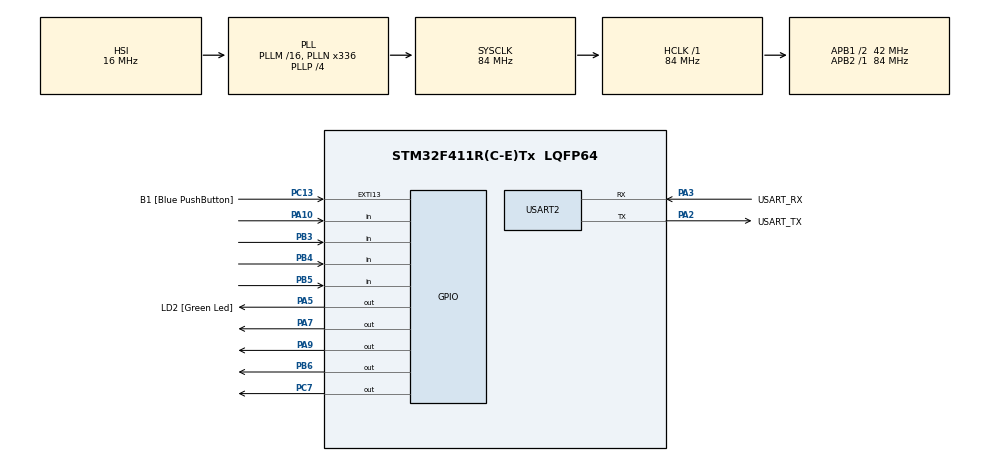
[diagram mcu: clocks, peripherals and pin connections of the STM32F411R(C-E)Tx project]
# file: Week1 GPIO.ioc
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Mcu.Family=STM32F4
Mcu.Name=STM32F411R(C-E)Tx
Mcu.Package=LQFP64
NVIC.PriorityGroup=NVIC_PRIORITYGROUP_0
PA10.Signal=GPIO_Input
PA13.GPIO_Label=TMS
PA13.Mode=Serial_Wire
PA13.Signal=SYS_JTMS-SWDIO
PA14.GPIO_Label=TCK
PA14.Mode=Serial_Wire
PA14.Signal=SYS_JTCK-SWCLK
PA2.GPIO_Label=USART_TX
PA2.Mode=Asynchronous
PA2.Signal=USART2_TX
PA3.GPIO_Label=USART_RX
PA3.Mode=Asynchronous
PA3.Signal=USART2_RX
PA5.GPIO_Label=LD2 [Green Led]
PA5.Signal=GPIO_Output
PA7.Signal=GPIO_Output
PA9.Signal=GPIO_Output
PB3.Signal=GPIO_Input
PB4.Signal=GPIO_Input
PB5.Signal=GPIO_Input
PB6.Signal=GPIO_Output
PC13-ANTI_TAMP.GPIO_Label=B1 [Blue PushButton]
PC13-ANTI_TAMP.GPIO_ModeDefaultEXTI=GPIO_MODE_IT_FALLING
PC13-ANTI_TAMP.Signal=GPXTI13
PC14-OSC32_IN.Mode=LSE-External-Oscillator
PC14-OSC32_IN.Signal=RCC_OSC32_IN
PC15-OSC32_OUT.Mode=LSE-External-Oscillator
PC15-OSC32_OUT.Signal=RCC_OSC32_OUT
PC7.Signal=GPIO_Output
PH0\ -\ OSC_IN.Mode=HSE-External-Clock-Source
PH0\ -\ OSC_IN.Signal=RCC_OSC_IN
PH1\ -\ OSC_OUT.Mode=HSE-External-Clock-Source
PH1\ -\ OSC_OUT.Signal=RCC_OSC_OUT
ProjectManager.HeapSize=0x200
ProjectManager.StackSize=0x400
ProjectManager.TargetToolchain=STM32CubeIDE
RCC.48MHZClocksFreq_Value=84000000
RCC.AHBFreq_Value=84000000
RCC.APB1CLKDivider=RCC_HCLK_DIV2
RCC.APB1Freq_Value=42000000
RCC.APB1TimFreq_Value=84000000
RCC.APB2Freq_Value=84000000
RCC.APB2TimFreq_Value=84000000
RCC.CortexFreq_Value=84000000
RCC.FLatency-AdvancedSettings=FLASH_LATENCY_2
RCC.HCLKFreq_Value=84000000
RCC.HSE_VALUE=8000000
RCC.HSI_VALUE=16000000
RCC.PLLN=336
RCC.PLLP=RCC_PLLP_DIV4
RCC.SYSCLKFreq_VALUE=84000000
RCC.SYSCLKSource=RCC_SYSCLKSOURCE_PLLCLK
RCC.VCOOutputFreq_Value=336000000
USART2.VirtualMode=VM_ASYNC
board=NUCLEO-F411RE

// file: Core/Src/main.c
/* USER CODE BEGIN Header */
/**
  ******************************************************************************
  * @file           : main.c
  * @brief          : Main program body
  ******************************************************************************
  * @attention
  *
  * <h2><center>&copy; Copyright (c) 2021 STMicroelectronics.
  * All rights reserved.</center></h2>
  *
  * This software component is licensed by ST under BSD 3-Clause license,
  * the "License"; You may not use this file except in compliance with the
  * License. You may obtain a copy of the License at:
  *                        opensource.org/licenses/BSD-3-Clause
  *
  ******************************************************************************
  */
/* USER CODE END Header */
#include "main.h"

UART_HandleTypeDef huart2;

void SystemClock_Config(void);
static void MX_GPIO_Init(void);
static void MX_USART2_UART_Init(void);

int main(void)
{

  /* MCU Configuration--------------------------------------------------------*/

  /* Reset of all peripherals, Initializes the Flash interface and the Systick. */
  HAL_Init();

  /* Configure the system clock */
  SystemClock_Config();

  /* Initialize all configured peripherals */
  MX_GPIO_Init();
  MX_USART2_UART_Init();
  /* USER CODE BEGIN 2 */
  GPIO_PinState switchState[2];//Now,Last S1
  GPIO_PinState SecondswitchState[2];//Now,Last S2
  GPIO_PinState ThirdswitchState[2];//Now,Last S3
  GPIO_PinState FourthswitchState[2];//Now,Last S4
  uint16_t LED1_HalfPeriod = 1000; //2Hz
  uint16_t LED3_Light = 500; //light activate time
  uint32_t TimeStamp = 0;
  uint32_t ThirdTimeStamp = 0; //time stamp for S3
  uint32_t ButtonTimeStamp = 0;

  /* USER CODE END 2 */

  /* Infinite loop */
  /* USER CODE BEGIN WHILE */
  while (1)
  {
	  if(HAL_GetTick() - ButtonTimeStamp >= 100)
	  {
		  ButtonTimeStamp = HAL_GetTick();
		  switchState[0] = HAL_GPIO_ReadPin(GPIOA, GPIO_PIN_10);
		  SecondswitchState[0] = HAL_GPIO_ReadPin(GPIOB, GPIO_PIN_3);
		  ThirdswitchState[0] = HAL_GPIO_ReadPin(GPIOB, GPIO_PIN_5);
		  FourthswitchState[0] = HAL_GPIO_ReadPin(GPIOB, GPIO_PIN_4);
		  if(switchState[1] == GPIO_PIN_SET && switchState[0] == GPIO_PIN_RESET)
		  {
			  if(LED1_HalfPeriod == 1000)
			  {
				  LED1_HalfPeriod = 500;
			  }
			  else if(LED1_HalfPeriod == 500)
			  {
				  LED1_HalfPeriod = 250;
			  }
			  else if(LED1_HalfPeriod == 250)
			  {
				  LED1_HalfPeriod = 1000/6;
			  }
			  else if(LED1_HalfPeriod == 1000/6)
			  {
				  LED1_HalfPeriod = 1000;
			  }
		  }
		  if(SecondswitchState[1] == GPIO_PIN_SET && SecondswitchState[0] == GPIO_PIN_RESET)
		  {
			  if(HAL_GPIO_ReadPin(GPIOC, GPIO_PIN_7) == GPIO_PIN_SET)
			  {
				  HAL_GPIO_WritePin(GPIOC, GPIO_PIN_7, GPIO_PIN_RESET);
			  }
			  else
			  {
				  HAL_GPIO_WritePin(GPIOC, GPIO_PIN_7, GPIO_PIN_SET);
			  }
		  }
		  if(ThirdswitchState[1] == GPIO_PIN_SET && ThirdswitchState[0] == GPIO_PIN_RESET)
		  {
			  if(LED3_Light == 500)
			  {
				  LED3_Light = 1500;
			  }
		  	  else
		  	  {
		  		  LED3_Light = 500;
		  	  }
		  }
		  switchState[1] = switchState[0];
		  SecondswitchState[1] = SecondswitchState[0];
		  ThirdswitchState[1] = ThirdswitchState[0];
		  FourthswitchState[1] = FourthswitchState[0];
	  }
	  if(HAL_GetTick() - TimeStamp >= LED1_HalfPeriod)
	  {
		  TimeStamp = HAL_GetTick();
		  if(HAL_GPIO_ReadPin(GPIOA, GPIO_PIN_9) == GPIO_PIN_SET)
		  {
			  HAL_GPIO_WritePin(GPIOA, GPIO_PIN_9, GPIO_PIN_RESET);
		  }
		  else
		  {
			  HAL_GPIO_WritePin(GPIOA, GPIO_PIN_9, GPIO_PIN_SET);
		  }
	  }
	  if(HAL_GetTick() - ThirdTimeStamp <= LED3_Light)
	  {
		  HAL_GPIO_WritePin(GPIOB, GPIO_PIN_6, GPIO_PIN_RESET);
	  }
	  else if(HAL_GetTick() - ThirdTimeStamp > 2000)
	  {
		  ThirdTimeStamp = HAL_GetTick();
	  }
	  else
	  {
		  HAL_GPIO_WritePin(GPIOB, GPIO_PIN_6, GPIO_PIN_SET);
	  }
    /* USER CODE END WHILE */

  }
}

void SystemClock_Config(void)
{
  RCC_OscInitTypeDef RCC_OscInitStruct = {0};
  RCC_ClkInitTypeDef RCC_ClkInitStruct = {0};

  /** Configure the main internal regulator output voltage
  */
  __HAL_RCC_PWR_CLK_ENABLE();
  __HAL_PWR_VOLTAGESCALING_CONFIG(PWR_REGULATOR_VOLTAGE_SCALE1);
  /** Initializes the RCC Oscillators according to the specified parameters
  * in the RCC_OscInitTypeDef structure.
  */
  RCC_OscInitStruct.OscillatorType = RCC_OSCILLATORTYPE_HSI;
  RCC_OscInitStruct.HSIState = RCC_HSI_ON;
  RCC_OscInitStruct.HSICalibrationValue = RCC_HSICALIBRATION_DEFAULT;
  RCC_OscInitStruct.PLL.PLLState = RCC_PLL_ON;
  RCC_OscInitStruct.PLL.PLLSource = RCC_PLLSOURCE_HSI;
  RCC_OscInitStruct.PLL.PLLM = 16;
  RCC_OscInitStruct.PLL.PLLN = 336;
  RCC_OscInitStruct.PLL.PLLP = RCC_PLLP_DIV4;
  RCC_OscInitStruct.PLL.PLLQ = 4;
  if (HAL_RCC_OscConfig(&RCC_OscInitStruct) != HAL_OK)
  {
    Error_Handler();
  }
  /** Initializes the CPU, AHB and APB buses clocks
  */
  RCC_ClkInitStruct.ClockType = RCC_CLOCKTYPE_HCLK|RCC_CLOCKTYPE_SYSCLK
                              |RCC_CLOCKTYPE_PCLK1|RCC_CLOCKTYPE_PCLK2;
  RCC_ClkInitStruct.SYSCLKSource = RCC_SYSCLKSOURCE_PLLCLK;
  RCC_ClkInitStruct.AHBCLKDivider = RCC_SYSCLK_DIV1;
  RCC_ClkInitStruct.APB1CLKDivider = RCC_HCLK_DIV2;
  RCC_ClkInitStruct.APB2CLKDivider = RCC_HCLK_DIV1;

  if (HAL_RCC_ClockConfig(&RCC_ClkInitStruct, FLASH_LATENCY_2) != HAL_OK)
  {
    Error_Handler();
  }
}

static void MX_USART2_UART_Init(void)
{

  huart2.Instance = USART2;
  huart2.Init.BaudRate = 115200;
  huart2.Init.WordLength = UART_WORDLENGTH_8B;
  huart2.Init.StopBits = UART_STOPBITS_1;
  huart2.Init.Parity = UART_PARITY_NONE;
  huart2.Init.Mode = UART_MODE_TX_RX;
  huart2.Init.HwFlowCtl = UART_HWCONTROL_NONE;
  huart2.Init.OverSampling = UART_OVERSAMPLING_16;
  if (HAL_UART_Init(&huart2) != HAL_OK)
  {
    Error_Handler();
  }

}

static void MX_GPIO_Init(void)
{
  GPIO_InitTypeDef GPIO_InitStruct = {0};

  /* GPIO Ports Clock Enable */
  __HAL_RCC_GPIOC_CLK_ENABLE();
  __HAL_RCC_GPIOH_CLK_ENABLE();
  __HAL_RCC_GPIOA_CLK_ENABLE();
  __HAL_RCC_GPIOB_CLK_ENABLE();

  /*Configure GPIO pin Output Level */
  HAL_GPIO_WritePin(GPIOA, LD2_Pin|GPIO_PIN_7|GPIO_PIN_9, GPIO_PIN_RESET);

  /*Configure GPIO pin Output Level */
  HAL_GPIO_WritePin(GPIOC, GPIO_PIN_7, GPIO_PIN_RESET);

  /*Configure GPIO pin Output Level */
  HAL_GPIO_WritePin(GPIOB, GPIO_PIN_6, GPIO_PIN_RESET);

  /*Configure GPIO pin : B1_Pin */
  GPIO_InitStruct.Pin = B1_Pin;
  GPIO_InitStruct.Mode = GPIO_MODE_IT_FALLING;
  GPIO_InitStruct.Pull = GPIO_NOPULL;
  HAL_GPIO_Init(B1_GPIO_Port, &GPIO_InitStruct);

  /*Configure GPIO pins : LD2_Pin PA7 PA9 */
  GPIO_InitStruct.Pin = LD2_Pin|GPIO_PIN_7|GPIO_PIN_9;
  GPIO_InitStruct.Mode = GPIO_MODE_OUTPUT_PP;
  GPIO_InitStruct.Pull = GPIO_NOPULL;
  GPIO_InitStruct.Speed = GPIO_SPEED_FREQ_LOW;
  HAL_GPIO_Init(GPIOA, &GPIO_InitStruct);

  /*Configure GPIO pin : PC7 */
  GPIO_InitStruct.Pin = GPIO_PIN_7;
  GPIO_InitStruct.Mode = GPIO_MODE_OUTPUT_PP;
  GPIO_InitStruct.Pull = GPIO_NOPULL;
  GPIO_InitStruct.Speed = GPIO_SPEED_FREQ_LOW;
  HAL_GPIO_Init(GPIOC, &GPIO_InitStruct);

  /*Configure GPIO pin : PA10 */
  GPIO_InitStruct.Pin = GPIO_PIN_10;
  GPIO_InitStruct.Mode = GPIO_MODE_INPUT;
  GPIO_InitStruct.Pull = GPIO_NOPULL;
  HAL_GPIO_Init(GPIOA, &GPIO_InitStruct);

  /*Configure GPIO pins : PB3 PB4 PB5 */
  GPIO_InitStruct.Pin = GPIO_PIN_3|GPIO_PIN_4|GPIO_PIN_5;
  GPIO_InitStruct.Mode = GPIO_MODE_INPUT;
  GPIO_InitStruct.Pull = GPIO_NOPULL;
  HAL_GPIO_Init(GPIOB, &GPIO_InitStruct);

  /*Configure GPIO pin : PB6 */
  GPIO_InitStruct.Pin = GPIO_PIN_6;
  GPIO_InitStruct.Mode = GPIO_MODE_OUTPUT_PP;
  GPIO_InitStruct.Pull = GPIO_NOPULL;
  GPIO_InitStruct.Speed = GPIO_SPEED_FREQ_LOW;
  HAL_GPIO_Init(GPIOB, &GPIO_InitStruct);

}

void Error_Handler(void)
{
  __disable_irq();
  while (1)
  {
  }
}

/************************ (C) COPYRIGHT STMicroelectronics *****END OF FILE****/
